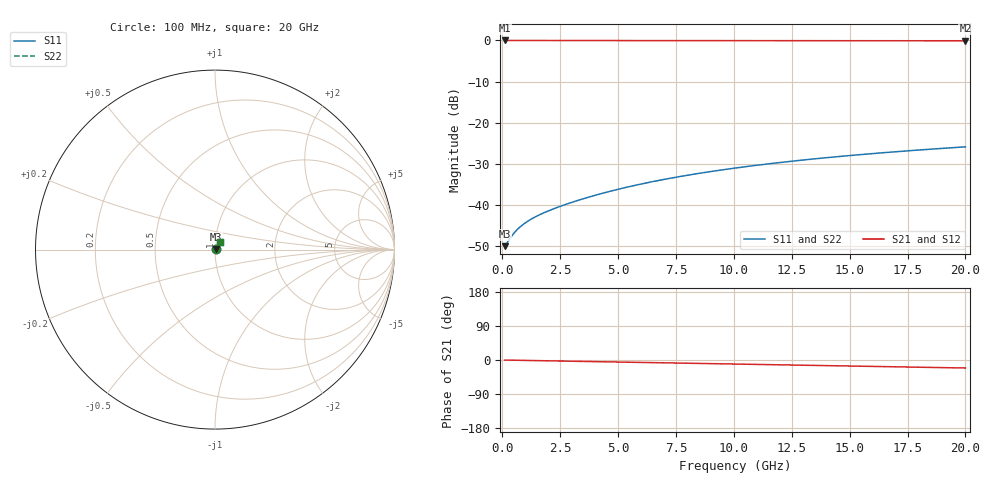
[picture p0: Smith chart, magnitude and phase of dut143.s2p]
! Touchstone file exported from HFSS 2026.1.0
!  File:  C:/ffzhzh/LocalFiles/Ansys_Project_Files/temp_train_BSMRDL_143_1782986436_6248.aedt
!  Generated:  06:01:58 PM Jul  2, 2026
!  Design:  BSMRDL
!  Project:  temp_train_BSMRDL_143_1782986436_6248
! Variables:
!  h_bsmrdl = 2.02um
!  h_ox = 20um
!  h_rdl = 5um
!  h_sub = 80um
!  h_tmrdl = 5um
!  h_tsv = 80um
!  h_via = 3um
!  l_bsmrdl = 360.86um
!  l_sub = 760.86um
!  l_tmrdl = 200um
!  m_sub = 200um
!  pitch = 28.01um
!  r_tsv = 6um
!  s_tmrdl = 10um
!  w_bsmrdl = 23.56um
!  w_sub = 500um
!  w_tmrdl = 12um
!  x_tsv_center1 = 206um
!  x_tsv_center2 = 590.42um
!  x_tsv_center3 = 802.42um
!  x_tsv_center4 = 1186.84um
!  x_tsv_center5 = 1398.84um
!  x_tsv_center6 = 1783.26um
# GHz S MA R 50.000000
! Terminal data exported
! Port[1] = BSM_RDL1_1_T1
! Port[2] = BSM_RDL1_1_T2
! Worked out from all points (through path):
!   200 points, 100 MHz to 20 GHz, reference 50 ohm
!   highest |S21| = -0.03 dB at 100 MHz (marker M1); lowest = -0.1 dB at 20 GHz (marker M2)
!   group delay of S21, straight-line fit = 2.93 ps
!   lowest |S11| = -50.0 dB at 100 MHz (marker M3), VSWR 1.01, Z = 50.3 + j0.0613 ohm
!   |S11| at or under -10 dB: start of sweep to end of sweep
!   |S22| runs from -50.0 to -25.9 dB; largest |S21 - S12| = 6.5e-15
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0.1  0.003172 11.1  0.9969 -0.1  0.9969 -0.1  0.003172 11.1
! Gamma 0 0 0 0
! Port Impedance 50 0 50 0
0.2  0.003458 19.7  0.9968 -0.3  0.9968 -0.3  0.003458 19.7
0.4  0.004192 29.7  0.9964 -0.5  0.9964 -0.5  0.004192 29.7
0.6  0.004894 34.9  0.9959 -0.7  0.9959 -0.7  0.004894 34.9
0.7  0.005218 36.6  0.9958 -0.8  0.9958 -0.8  0.005219 36.6
0.9  0.005821 39.4  0.9954 -1.0  0.9954 -1.0  0.005821 39.4
1.2  0.006635 42.5  0.9951 -1.4  0.9951 -1.4  0.006636 42.5
1.6  0.007612 45.8  0.9948 -1.8  0.9948 -1.8  0.007612 45.8
2.1  0.008754 49.3  0.9945 -2.3  0.9945 -2.3  0.008754 49.3
2.8  0.01033 53.3  0.9942 -3.0  0.9942 -3.0  0.01033 53.3
3.5  0.01195 56.4  0.994 -3.8  0.994 -3.8  0.01195 56.4
4.3  0.01385 59.1  0.9938 -4.6  0.9938 -4.6  0.01385 59.0
5.1  0.01581 60.9  0.9935 -5.5  0.9935 -5.5  0.01581 60.9
5.9  0.01779 62.1  0.9933 -6.3  0.9933 -6.3  0.01779 62.1
6.8  0.02004 63.0  0.993 -7.3  0.993 -7.3  0.02004 62.9
8.4  0.02405 63.5  0.9925 -9.0  0.9925 -9.0  0.02405 63.5
10.1  0.02827 63.3  0.9918 -10.8  0.9918 -10.8  0.02827 63.2
11.7  0.03217 62.6  0.9912 -12.5  0.9912 -12.5  0.03218 62.5
13.4  0.03623 61.6  0.9904 -14.3  0.9904 -14.3  0.03624 61.5
15  0.03995 60.4  0.9897 -15.9  0.9897 -15.9  0.03996 60.3
16.7  0.0438 59.0  0.9889 -17.7  0.9889 -17.7  0.0438 59.0
20  0.05094 56.2  0.9873 -21.1  0.9873 -21.1  0.05095 56.1
